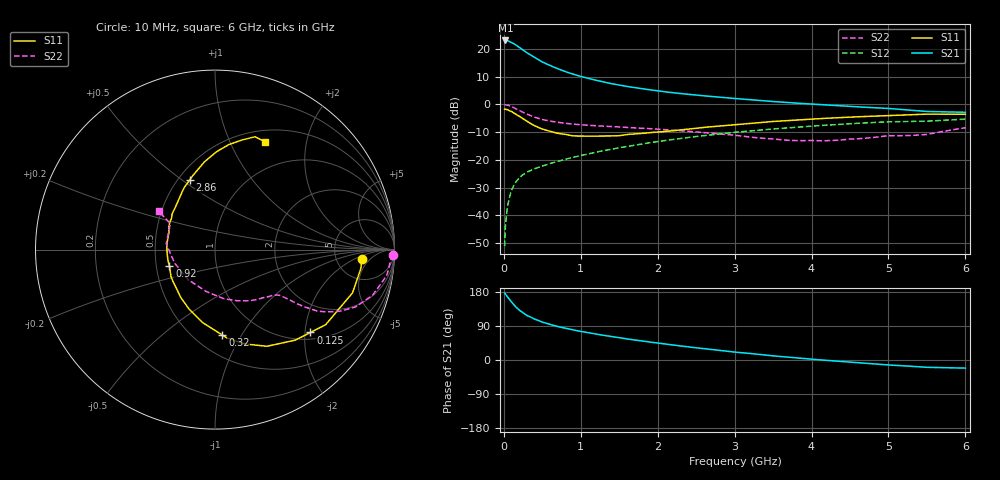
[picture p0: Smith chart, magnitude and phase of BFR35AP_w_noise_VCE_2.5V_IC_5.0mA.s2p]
! Infineon Technologies  Discrete & RF Semiconductors
! BFR35AP
! VCE =  2.5 V,  IC =  5.0 mA
! Common Emitter S-Parameters:  Nov 2015
# GHz  S  MA  R  50
!  f  S11  S21  S12  S22
! GHz  MAG  ANG  MAG  ANG  MAG  ANG  MAG  ANG
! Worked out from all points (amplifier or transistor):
!   210 points, 10 MHz to 6 GHz, reference 50 ohm
!   highest |S21| = 23.0 dB at 20 MHz (marker M1)
!   |S21| within 3 dB of that: start of sweep to 227.9 MHz
!   unconditionally stable (mu >= 1): 786.1 MHz to 3.838 GHz
!   at 185 MHz: K = 0.38, MSG = 23.9 dB, |S12| = -27.0 dB
!   at 1.52 GHz: K = 1.14, MAG = 8.9 dB, |S12| = -15.5 dB
!   at 6 GHz: K = 0.98, MSG = 1.2 dB, |S12| = -5.3 dB
!   lowest NFmin = 1.50 dB at 450 MHz
!   S11 on the Smith chart (normalised r, x): 10 MHz: 9.13, -2.94; 125 MHz: 1.17, -2.13; 320 MHz: 0.67, -0.83; 920 MHz: 0.59, -0.12; 2.86 GHz: 0.57, +0.54; 6 GHz: 0.64, +1.36
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0.01  0.8197 -3.7  14.11 177.2  0.0028 91.1  0.9914 -1.7
0.02  0.8196 -7.4  14.13 174.0  0.0061 85.4  0.981 -3.4
0.05  0.8031 -17.5  14.02 165.8  0.0149 81.5  0.968 -8.6
0.1  0.7451 -34.2  13.05 153.0  0.0284 73.7  0.9141 -16.2
0.125  0.7039 -41.0  12.4 147.2  0.0336 69.4  0.8783 -19.1
0.15  0.6737 -48.5  11.89 140.8  0.039 66.3  0.845 -22.2
0.2  0.6117 -61.7  10.71 131.7  0.0475 62.1  0.7751 -26.3
0.26  0.5389 -74.4  9.283 122.8  0.0556 58.4  0.7044 -29.5
0.3  0.4978 -82.1  8.5 117.5  0.0601 57.0  0.6658 -31.0
0.32  0.4775 -85.1  8.181 115.9  0.0619 56.6  0.6497 -31.3
0.4  0.4124 -99.7  6.986 107.9  0.0693 55.2  0.5854 -32.8
0.5  0.3602 -113.9  5.793 100.0  0.0775 54.8  0.5324 -33.6
0.7  0.3014 -137.4  4.386 88.3  0.0939 55.3  0.4758 -34.4
0.92  0.2702 -159.9  3.427 78.5  0.1131 56.1  0.4383 -35.5
1.02  0.2683 -168.1  3.131 74.7  0.1215 56.3  0.4278 -36.3
1.4  0.2701 165.0  2.355 61.9  0.156 55.9  0.3992 -40.9
2.02  0.3189 135.1  1.732 44.2  0.216 52.6  0.3566 -51.8
2.86  0.4131 109.9  1.326 24.2  0.2999 44.8  0.2888 -74.5
3.1  0.4409 104.7  1.244 19.1  0.3227 41.8  0.2675 -83.5
4.1  0.5538 87.7  0.992 0.5  0.4144 29.4  0.2218 -137.7
5.1  0.6352 75.1  0.823 -14.2  0.4876 15.4  0.2726 168.5
6  0.6629 65.1  0.72 -21.4  0.5421 5.2  0.3795 145.7
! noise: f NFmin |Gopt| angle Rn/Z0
0.45  1.5  0.28  29  0.34
0.9  1.8  0.25  59  0.34
